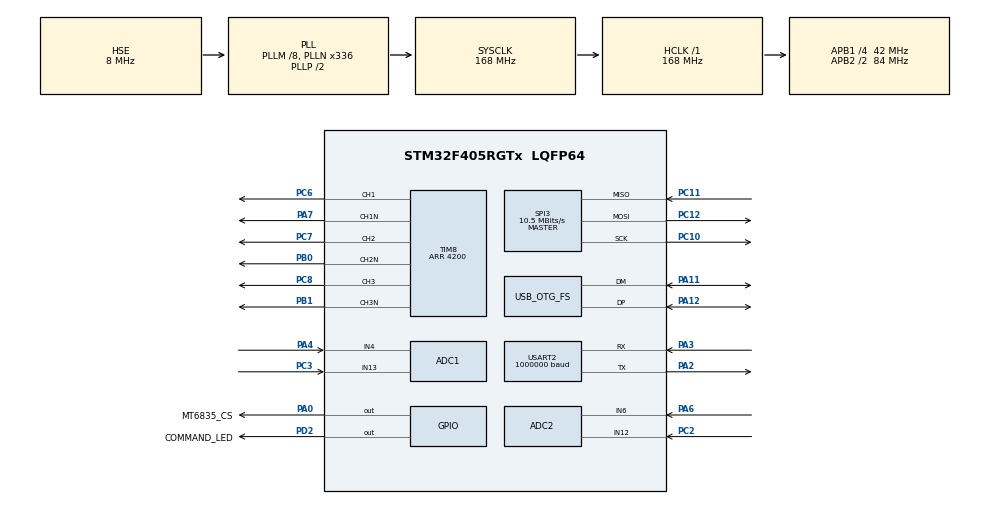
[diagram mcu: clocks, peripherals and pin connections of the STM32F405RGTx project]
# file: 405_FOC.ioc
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ADC1.Channel-0\#ChannelInjectedConversion=ADC_CHANNEL_13
ADC1.Channel-0\#ChannelRegularConversion=ADC_CHANNEL_13
ADC1.Channel-1\#ChannelInjectedConversion=ADC_CHANNEL_4
ADC1.ClockPrescaler=ADC_CLOCK_SYNC_PCLK_DIV4
ADC1.ContinuousConvMode=DISABLE
ADC1.ExternalTrigInjecConv=ADC_EXTERNALTRIGINJECCONV_T8_CC4
ADC1.ExternalTrigInjecConvEdge=ADC_EXTERNALTRIGINJECCONVEDGE_RISING
ADC1.InjNumberOfConversion=2
ADC1.InjectedRank-0\#ChannelInjectedConversion=1
ADC1.InjectedRank-1\#ChannelInjectedConversion=2
ADC1.Mode=ADC_DUALMODE_INJECSIMULT
ADC1.NbrOfConversionFlag=1
ADC1.Rank-0\#ChannelRegularConversion=1
ADC1.SamplingTime-0\#ChannelInjectedConversion=ADC_SAMPLETIME_28CYCLES
ADC1.SamplingTime-0\#ChannelRegularConversion=ADC_SAMPLETIME_28CYCLES
ADC1.SamplingTime-1\#ChannelInjectedConversion=ADC_SAMPLETIME_15CYCLES
ADC1.master=1
ADC2.Channel-0\#ChannelInjectedConversion=ADC_CHANNEL_12
ADC2.Channel-0\#ChannelRegularConversion=ADC_CHANNEL_12
ADC2.Channel-1\#ChannelInjectedConversion=ADC_CHANNEL_6
ADC2.ClockPrescaler=ADC_CLOCK_SYNC_PCLK_DIV4
ADC2.ContinuousConvMode=DISABLE
ADC2.InjNumberOfConversion=2
ADC2.InjectedRank-0\#ChannelInjectedConversion=1
ADC2.InjectedRank-1\#ChannelInjectedConversion=2
ADC2.Mode=ADC_DUALMODE_INJECSIMULT
ADC2.NbrOfConversionFlag=1
ADC2.Rank-0\#ChannelRegularConversion=1
ADC2.SamplingTime-0\#ChannelInjectedConversion=ADC_SAMPLETIME_28CYCLES
ADC2.SamplingTime-0\#ChannelRegularConversion=ADC_SAMPLETIME_28CYCLES
ADC2.SamplingTime-1\#ChannelInjectedConversion=ADC_SAMPLETIME_15CYCLES
Dma.Request0=USART2_TX
Dma.USART2_TX.0.Direction=DMA_MEMORY_TO_PERIPH
Dma.USART2_TX.0.FIFOMode=DMA_FIFOMODE_DISABLE
Dma.USART2_TX.0.Instance=DMA1_Stream6
Dma.USART2_TX.0.MemDataAlignment=DMA_MDATAALIGN_BYTE
Dma.USART2_TX.0.MemInc=DMA_MINC_ENABLE
Dma.USART2_TX.0.Mode=DMA_NORMAL
Dma.USART2_TX.0.PeriphDataAlignment=DMA_PDATAALIGN_BYTE
Dma.USART2_TX.0.PeriphInc=DMA_PINC_DISABLE
Dma.USART2_TX.0.Priority=DMA_PRIORITY_HIGH
Mcu.Family=STM32F4
Mcu.Name=STM32F405RGTx
Mcu.Package=LQFP64
NVIC.ADC_IRQn=true\:0\:0\:false\:false\:true\:true\:true\:true
NVIC.DMA1_Stream6_IRQn=true\:5\:0\:false\:false\:true\:false\:true\:true
NVIC.OTG_FS_IRQn=true\:7\:0\:false\:false\:true\:false\:true\:true
NVIC.PriorityGroup=NVIC_PRIORITYGROUP_4
NVIC.USART2_IRQn=true\:6\:0\:false\:false\:true\:false\:true\:true
PA0-WKUP.GPIO_Label=MT6835_CS
PA0-WKUP.PinState=GPIO_PIN_SET
PA0-WKUP.Signal=GPIO_Output
PA11.Mode=Device_Only
PA11.Signal=USB_OTG_FS_DM
PA12.Mode=Device_Only
PA12.Signal=USB_OTG_FS_DP
PA13.Mode=Serial_Wire
PA13.Signal=SYS_JTMS-SWDIO
PA14.Mode=Serial_Wire
PA14.Signal=SYS_JTCK-SWCLK
PA2.Mode=Asynchronous
PA2.Signal=USART2_TX
PA3.Mode=Asynchronous
PA3.Signal=USART2_RX
PA4.Signal=ADCx_IN4
PA6.Signal=ADCx_IN6
PA7.Mode=PWM Generation1 CH1 CH1N
PA7.Signal=TIM8_CH1N
PB0.Mode=PWM Generation2 CH2 CH2N
PB0.Signal=TIM8_CH2N
PB1.Mode=PWM Generation3 CH3 CH3N
PB1.Signal=TIM8_CH3N
PC10.Mode=Full_Duplex_Master
PC10.Signal=SPI3_SCK
PC11.Mode=Full_Duplex_Master
PC11.Signal=SPI3_MISO
PC12.Mode=Full_Duplex_Master
PC12.Signal=SPI3_MOSI
PC2.Signal=ADCx_IN12
PC3.Signal=ADCx_IN13
PC6.Signal=S_TIM8_CH1
PC7.Signal=S_TIM8_CH2
PC8.Signal=S_TIM8_CH3
PD2.GPIO_Label=COMMAND_LED
PD2.PinState=GPIO_PIN_SET
PD2.Signal=GPIO_Output
PH0-OSC_IN.Mode=HSE-External-Oscillator
PH0-OSC_IN.Signal=RCC_OSC_IN
PH1-OSC_OUT.Mode=HSE-External-Oscillator
PH1-OSC_OUT.Signal=RCC_OSC_OUT
ProjectManager.HeapSize=0x200
ProjectManager.StackSize=0x400
ProjectManager.TargetToolchain=CMake
RCC.48MHZClocksFreq_Value=48000000
RCC.AHBFreq_Value=168000000
RCC.APB1CLKDivider=RCC_HCLK_DIV4
RCC.APB1Freq_Value=42000000
RCC.APB1TimFreq_Value=84000000
RCC.APB2CLKDivider=RCC_HCLK_DIV2
RCC.APB2Freq_Value=84000000
RCC.APB2TimFreq_Value=168000000
RCC.CortexFreq_Value=168000000
RCC.HCLKFreq_Value=168000000
RCC.HSE_VALUE=8000000
RCC.HSI_VALUE=16000000
RCC.LSE_VALUE=32768
RCC.PLLM=8
RCC.PLLN=336
RCC.PLLQ=7
RCC.RCC_RTC_Clock_Source_FROM_HSE=RCC_RTCCLKSOURCE_HSE_DIV8
RCC.SYSCLKFreq_VALUE=168000000
RCC.SYSCLKSource=RCC_SYSCLKSOURCE_PLLCLK
RCC.VCOOutputFreq_Value=336000000
SH.ADCx_IN12.0=ADC2_IN12,IN12
SH.ADCx_IN13.0=ADC1_IN13,IN13
SH.ADCx_IN4.0=ADC1_IN4,IN4
SH.ADCx_IN6.0=ADC2_IN6,IN6
SH.S_TIM8_CH1.0=TIM8_CH1,PWM Generation1 CH1 CH1N
SH.S_TIM8_CH2.0=TIM8_CH2,PWM Generation2 CH2 CH2N
SH.S_TIM8_CH3.0=TIM8_CH3,PWM Generation3 CH3 CH3N
SPI3.BaudRatePrescaler=SPI_BAUDRATEPRESCALER_4
SPI3.CLKPhase=SPI_PHASE_2EDGE
SPI3.CLKPolarity=SPI_POLARITY_HIGH
SPI3.CalculateBaudRate=10.5 MBits/s
SPI3.Direction=SPI_DIRECTION_2LINES
SPI3.Mode=SPI_MODE_MASTER
SPI3.VirtualType=VM_MASTER
TIM8.AutoReloadPreload=TIM_AUTORELOAD_PRELOAD_ENABLE
TIM8.Channel-Output\ Compare4\ No\ Output=TIM_CHANNEL_4
TIM8.Channel-PWM\ Generation1\ CH1\ CH1N=TIM_CHANNEL_1
TIM8.Channel-PWM\ Generation2\ CH2\ CH2N=TIM_CHANNEL_2
TIM8.Channel-PWM\ Generation3\ CH3\ CH3N=TIM_CHANNEL_3
TIM8.CounterMode=TIM_COUNTERMODE_CENTERALIGNED1
TIM8.DeadTime=84
TIM8.OCMode_4-Output\ Compare4\ No\ Output=TIM_OCMODE_TOGGLE
TIM8.Period=4200
TIM8.Pulse-Output\ Compare4\ No\ Output=4100
USART2.BaudRate=1000000
USART2.Mode=MODE_TX_RX
USART2.OverSampling=UART_OVERSAMPLING_16
USART2.Parity=PARITY_NONE
USART2.StopBits=STOPBITS_1
USART2.VirtualMode=VM_ASYNC
USART2.WordLength=WORDLENGTH_8B
USB_DEVICE.CLASS_NAME_FS=CDC
USB_DEVICE.VirtualMode-CDC_FS=Cdc
USB_DEVICE.VirtualModeFS=Cdc_FS
USB_OTG_FS.VirtualMode=Device_Only
USB_OTG_FS.vbus_sensing_enable=DISABLE
VP_TIM8_VS_ClockSourceINT.Mode=Internal
VP_TIM8_VS_no_output4.Mode=Output Compare4 No Output
VP_USB_DEVICE_VS_USB_DEVICE_CDC_FS.Mode=CDC_FS
board=custom

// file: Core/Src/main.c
/* USER CODE BEGIN Header */
/**
  ******************************************************************************
  * @file           : main.c
  * @brief          : Main program body
  ******************************************************************************
  * @attention
  *
  * Copyright (c) 2026 STMicroelectronics.
  * All rights reserved.
  *
  * This software is licensed under terms that can be found in the LICENSE file
  * in the root directory of this software component.
  * If no LICENSE file comes with this software, it is provided AS-IS.
  *
  ******************************************************************************
  */
/* USER CODE END Header */
#include "main.h"
#include "adc.h"
#include "dma.h"
#include "spi.h"
#include "tim.h"
#include "usart.h"
#include "usb_device.h"
#include "gpio.h"

/* USER CODE BEGIN Includes */
#include "foc.h"
#include "app.h"
#include "debug.h"
#include "bsp_usb.h"
/* USER CODE END Includes */

void SystemClock_Config(void);

int main(void)
{

  /* MCU Configuration--------------------------------------------------------*/

  /* Reset of all peripherals, Initializes the Flash interface and the Systick. */
  HAL_Init();

  /* Configure the system clock */
  SystemClock_Config();

  /* Initialize all configured peripherals */
  MX_GPIO_Init();
  MX_DMA_Init();
  MX_TIM8_Init();
  MX_ADC1_Init();
  MX_ADC2_Init();
  MX_SPI3_Init();
  MX_USART2_UART_Init();
  MX_USB_DEVICE_Init();
  /* USER CODE BEGIN 2 */
  if (!app_init()) {
    app_fault(foc.fault ? foc.fault : FOC_TIMING);
    while (1) {
#if DEBUG_USB_ENABLE
      uint8_t data[64];
      bsp_usb_poll();
      bsp_usb_read(data, sizeof data);
#endif
      __WFI();
    }
  }
  /* USER CODE END 2 */

  /* Infinite loop */
  while (1)
  {

    /* USER CODE BEGIN 3 */
    app_poll();
    __WFI();
  }
  /* USER CODE END 3 */
}

void SystemClock_Config(void)
{
  RCC_OscInitTypeDef RCC_OscInitStruct = {0};
  RCC_ClkInitTypeDef RCC_ClkInitStruct = {0};

  /** Configure the main internal regulator output voltage
  */
  __HAL_RCC_PWR_CLK_ENABLE();
  __HAL_PWR_VOLTAGESCALING_CONFIG(PWR_REGULATOR_VOLTAGE_SCALE1);

  /** Initializes the RCC Oscillators according to the specified parameters
  * in the RCC_OscInitTypeDef structure.
  */
  RCC_OscInitStruct.OscillatorType = RCC_OSCILLATORTYPE_HSE;
  RCC_OscInitStruct.HSEState = RCC_HSE_ON;
  RCC_OscInitStruct.PLL.PLLState = RCC_PLL_ON;
  RCC_OscInitStruct.PLL.PLLSource = RCC_PLLSOURCE_HSE;
  RCC_OscInitStruct.PLL.PLLM = 8;
  RCC_OscInitStruct.PLL.PLLN = 336;
  RCC_OscInitStruct.PLL.PLLP = RCC_PLLP_DIV2;
  RCC_OscInitStruct.PLL.PLLQ = 7;
  if (HAL_RCC_OscConfig(&RCC_OscInitStruct) != HAL_OK)
  {
    Error_Handler();
  }

  /** Initializes the CPU, AHB and APB buses clocks
  */
  RCC_ClkInitStruct.ClockType = RCC_CLOCKTYPE_HCLK|RCC_CLOCKTYPE_SYSCLK
                              |RCC_CLOCKTYPE_PCLK1|RCC_CLOCKTYPE_PCLK2;
  RCC_ClkInitStruct.SYSCLKSource = RCC_SYSCLKSOURCE_PLLCLK;
  RCC_ClkInitStruct.AHBCLKDivider = RCC_SYSCLK_DIV1;
  RCC_ClkInitStruct.APB1CLKDivider = RCC_HCLK_DIV4;
  RCC_ClkInitStruct.APB2CLKDivider = RCC_HCLK_DIV2;

  if (HAL_RCC_ClockConfig(&RCC_ClkInitStruct, FLASH_LATENCY_5) != HAL_OK)
  {
    Error_Handler();
  }
}

void Error_Handler(void)
{
  /* USER CODE BEGIN Error_Handler_Debug */
  /* User can add his own implementation to report the HAL error return state */
  __disable_irq();
  app_fault(FOC_TIMING);
  while (1)
  {
  }
  /* USER CODE END Error_Handler_Debug */
}
